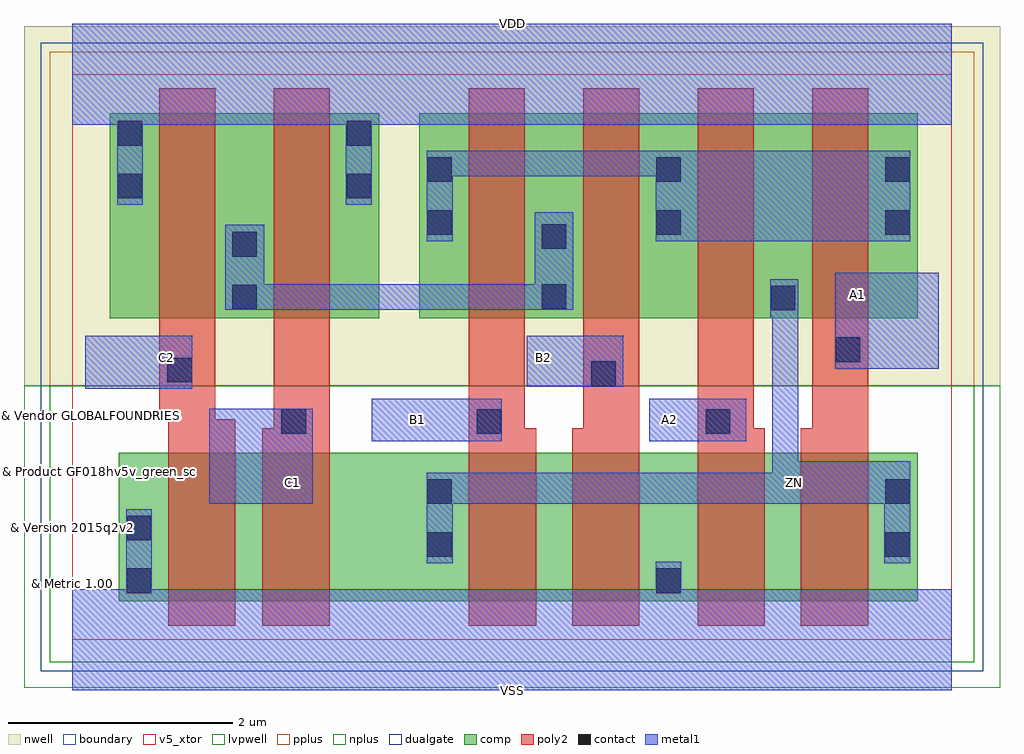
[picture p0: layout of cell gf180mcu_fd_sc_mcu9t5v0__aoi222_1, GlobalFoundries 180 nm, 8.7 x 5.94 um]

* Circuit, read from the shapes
.subckt gf180mcu_fd_sc_mcu9t5v0__aoi222_1 A1 A2 B1 B2 C1 C2 VDD VSS ZN
XM1 n1 C2 VSS VSUBS nfet_05v0 w=1.32u l=0.6u
XM2 ZN C1 n1 VSUBS nfet_05v0 w=1.32u l=0.6u
XM3 n2 B1 ZN VSUBS nfet_05v0 w=1.32u l=0.6u
XM4 VSS B2 n2 VSUBS nfet_05v0 w=1.32u l=0.6u
XM5 n3 A2 VSS VSUBS nfet_05v0 w=1.32u l=0.6u
XM6 ZN A1 n3 VSUBS nfet_05v0 w=1.32u l=0.6u
XM7 n4 C2 VDD n5 pfet_05v0 w=1.83u l=0.5u
XM8 VDD C1 n4 n5 pfet_05v0 w=1.83u l=0.5u
XM9 n4 B1 n6 n5 pfet_05v0 w=1.83u l=0.5u
XM10 n6 B2 n4 n5 pfet_05v0 w=1.83u l=0.5u
XM11 ZN A2 n6 n5 pfet_05v0 w=1.83u l=0.5u
XM12 n6 A1 ZN n5 pfet_05v0 w=1.83u l=0.5u
.ends

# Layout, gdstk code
import gdstk
lib = gdstk.Library(unit=1e-6, precision=1e-09)
def R(c, l, rs):  # rectangles x0, y0, x1, y1
    for r in rs: c.add(gdstk.rectangle(r[:2], r[2:], *l))
def A(c, l, x, y, w, h, nx, ny, dx, dy):  # array of equal rectangles
    R(c, l, [(x+i*dx, y+j*dy, x+i*dx+w, y+j*dy+h) for i in range(nx) for j in range(ny)])
def P(c, l, *ps):  # polygons
    for p in ps: c.add(gdstk.Polygon(p, *l))
boundary = (0, 0)
nwell = (21, 0)
comp = (22, 0)
poly2 = (30, 0)
pplus = (31, 0)
nplus = (32, 0)
contact = (33, 0)
metal1 = (34, 0)
dualgate = (55, 0)
v5_xtor = (112, 1)
lvpwell = (204, 0)

gf180mcu_fd_sc_mcu9t5v0_ = lib.new_cell('gf180mcu_fd_sc_mcu9t5v0__aoi222_1')
R(gf180mcu_fd_sc_mcu9t5v0_, boundary, [(0,0,7.84,5.04)])
R(gf180mcu_fd_sc_mcu9t5v0_, nwell, [(-0.43,2.265,8.27,5.47)])
R(gf180mcu_fd_sc_mcu9t5v0_, comp, [(0.415,0.345,7.535,1.665), (0.335,2.865,2.735,4.695), (3.095,2.865,7.535,4.695)])
P(gf180mcu_fd_sc_mcu9t5v0_, poly2, [(0.855,0.125),(0.855,1.965),(0.775,1.965),(0.775,4.915),(1.275,4.915),(1.275,1.965),(1.455,1.965),(1.455,0.125)],
  [(1.695,0.125),(1.695,1.885),(1.795,1.885),(1.795,4.915),(2.295,4.915),(2.295,0.125)],
  [(3.535,0.125),(3.535,4.915),(4.035,4.915),(4.035,1.885),(4.135,1.885),(4.135,0.125)],
  [(4.455,0.125),(4.455,1.885),(4.555,1.885),(4.555,4.915),(5.055,4.915),(5.055,0.125)],
  [(5.575,0.125),(5.575,4.915),(6.075,4.915),(6.075,1.885),(6.175,1.885),(6.175,0.125)],
  [(6.495,0.125),(6.495,1.885),(6.595,1.885),(6.595,4.915),(7.095,4.915),(7.095,0.125)])
R(gf180mcu_fd_sc_mcu9t5v0_, pplus, [(-0.2,2.265,8.04,5.24)])
R(gf180mcu_fd_sc_mcu9t5v0_, nplus, [(-0.2,-0.2,8.04,2.265)])
A(gf180mcu_fd_sc_mcu9t5v0_, contact, 3.165, 3.61, 0.22, 0.22, 3, 2, 2.04, 0.47)
R(gf180mcu_fd_sc_mcu9t5v0_, contact, [(0.485,0.415,0.705,0.635), (5.205,0.415,5.425,0.635), (3.165,0.74,3.385,0.96), (7.245,0.74,7.465,0.96), (0.485,0.885,0.705,1.105), (3.165,1.21,3.385,1.43), (7.245,1.21,7.465,1.43), (1.865,1.835,2.085,2.055), (3.605,1.835,3.825,2.055), (5.645,1.835,5.865,2.055), (4.625,2.26,4.845,2.48), (0.845,2.295,1.065,2.515), (6.805,2.475,7.025,2.695), (6.225,2.935,6.445,3.155), (1.425,2.945,1.645,3.165), (4.185,2.95,4.405,3.17), (1.425,3.415,1.645,3.635), (4.185,3.485,4.405,3.705), (0.405,3.935,0.625,4.155), (2.445,3.935,2.665,4.155), (0.405,4.405,0.625,4.625), (2.445,4.405,2.665,4.625)])
R(gf180mcu_fd_sc_mcu9t5v0_, metal1, [(1.22,1.21,2.145,2.06), (2.67,1.77,3.83,2.15), (5.145,1.77,6.01,2.15), (0.115,2.235,1.07,2.71), (4.05,2.255,4.91,2.71), (6.8,2.415,7.725,3.27)])
P(gf180mcu_fd_sc_mcu9t5v0_, metal1, [(1.365,2.94),(1.365,3.7),(1.71,3.7),(1.71,3.17),(4.125,3.17),(4.125,3.81),(4.465,3.81),(4.465,2.94)],
  [(3.16,0.68),(3.16,1.49),(6.24,1.49),(6.24,2.875),(6.22,2.875),(6.22,3.215),(6.47,3.215),(6.47,1.59),(7.47,1.59),(7.47,0.68),(7.24,0.68),(7.24,1.21),(3.39,1.21),(3.39,0.68)],
  [(3.16,3.55),(3.16,4.36),(7.47,4.36),(7.47,3.55),(5.2,3.55),(5.2,4.13),(3.39,4.13),(3.39,3.55)],
  [(0,-0.45),(0,0.45),(0.48,0.45),(0.48,1.165),(0.71,1.165),(0.71,0.45),(5.2,0.45),(5.2,0.695),(5.43,0.695),(5.43,0.45),(7.84,0.45),(7.84,-0.45)],
  [(0.4,3.875),(0.4,4.59),(0,4.59),(0,5.49),(7.84,5.49),(7.84,4.59),(2.67,4.59),(2.67,3.875),(2.44,3.875),(2.44,4.59),(0.63,4.59),(0.63,3.875)])
R(gf180mcu_fd_sc_mcu9t5v0_, dualgate, [(-0.28,-0.28,8.12,5.32)])
R(gf180mcu_fd_sc_mcu9t5v0_, v5_xtor, [(0,0,7.84,5.04)])
R(gf180mcu_fd_sc_mcu9t5v0_, lvpwell, [(-0.43,-0.43,8.27,2.265)])
gf180mcu_fd_sc_mcu9t5v0_.add(gdstk.Label('A1', (7,3.08), layer=34, texttype=10))
gf180mcu_fd_sc_mcu9t5v0_.add(gdstk.Label('A2', (5.32,1.96), layer=34, texttype=10))
gf180mcu_fd_sc_mcu9t5v0_.add(gdstk.Label('B1', (3.08,1.96), layer=34, texttype=10))
gf180mcu_fd_sc_mcu9t5v0_.add(gdstk.Label('B2', (4.2,2.52), layer=34, texttype=10))
gf180mcu_fd_sc_mcu9t5v0_.add(gdstk.Label('C1', (1.96,1.4), layer=34, texttype=10))
gf180mcu_fd_sc_mcu9t5v0_.add(gdstk.Label('C2', (0.84,2.52), layer=34, texttype=10))
gf180mcu_fd_sc_mcu9t5v0_.add(gdstk.Label('VDD', (3.92,5.49), layer=34, texttype=10))
gf180mcu_fd_sc_mcu9t5v0_.add(gdstk.Label('VSS', (3.92,-0.45), layer=34, texttype=10))
gf180mcu_fd_sc_mcu9t5v0_.add(gdstk.Label('ZN', (6.44,1.4), layer=34, texttype=10))
gf180mcu_fd_sc_mcu9t5v0_.add(gdstk.Label('& Vendor GLOBALFOUNDRIES', (0,2), layer=63, texttype=63))
gf180mcu_fd_sc_mcu9t5v0_.add(gdstk.Label('& Product GF018hv5v_green_sc9', (0,1.5), layer=63, texttype=63))
gf180mcu_fd_sc_mcu9t5v0_.add(gdstk.Label('& Version 2015q2v2', (0,1), layer=63, texttype=63))
gf180mcu_fd_sc_mcu9t5v0_.add(gdstk.Label('& Metric 1.00', (0,0.5), layer=63, texttype=63))

lib.write_gds('gf180mcu_fd_sc_mcu9t5v0__aoi222_1.gds')
